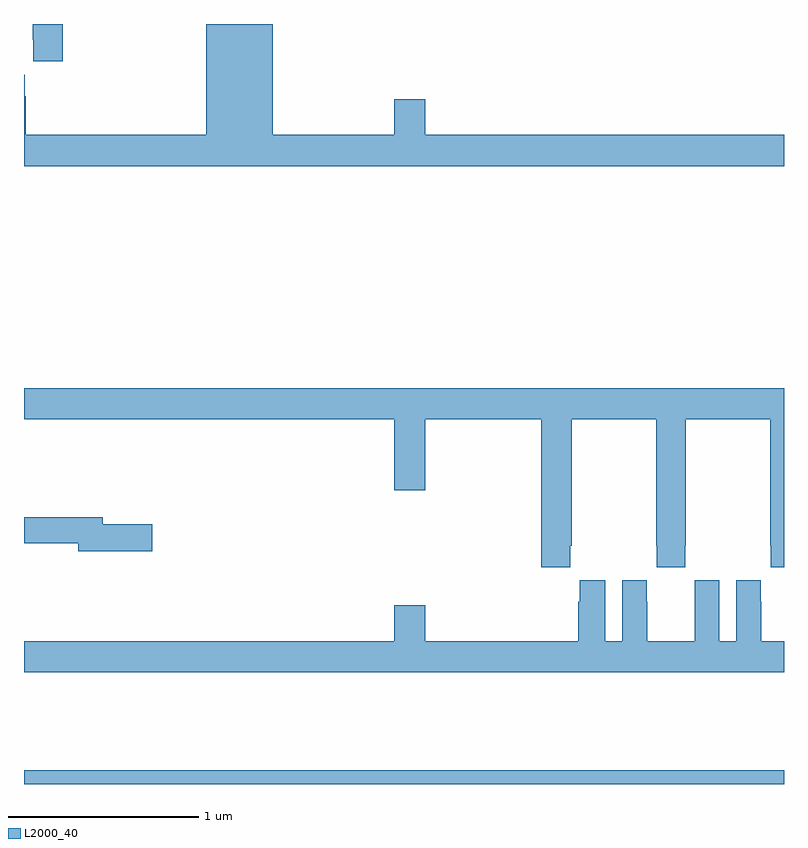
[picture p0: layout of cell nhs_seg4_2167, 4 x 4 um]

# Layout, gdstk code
import gdstk
lib = gdstk.Library(unit=1e-6, precision=1e-09)
def R(c, l, rs):  # rectangles x0, y0, x1, y1
    for r in rs: c.add(gdstk.rectangle(r[:2], r[2:], *l))
def P(c, l, *ps):  # polygons
    for p in ps: c.add(gdstk.Polygon(p, *l))
L2000_40 = (2000, 40)

nhs_seg4_2167 = lib.new_cell('nhs_seg4_2167')
R(nhs_seg4_2167, L2000_40, [(223,794.9,227,794.972)])
P(nhs_seg4_2167, L2000_40, [(223.205,798.9),(223.045,798.9),(223.045,798.817),(223.049,798.817),(223.049,798.705),(223.205,798.705)],
  [(227,798.316),(225.112,798.316),(225.112,798.505),(224.948,798.505),(224.948,798.316),(224.308,798.316),(224.308,798.9),(223.958,798.9),(223.958,798.316),(223.01,798.316),(223.01,798.521),(223.003,798.521),(223.003,798.634),(223,798.634),(223,798.152),(227,798.152)],
  [(225.875,796.153),(225.882,796.153),(225.882,796.82),(226.327,796.82),(226.327,796.153),(226.329,796.153),(226.329,796.041),(226.479,796.041),(226.479,796.153),(226.482,796.153),(226.482,796.82),(226.927,796.82),(226.927,796.153),(226.929,796.153),(226.929,796.041),(227,796.041),(227,796.984),(223,796.984),(223,796.82),(224.948,796.82),(224.948,796.446),(225.112,796.446),(225.112,796.82),(225.722,796.82),(225.722,796.041),(225.875,796.041)],
  [(223.675,796.268),(223.414,796.268),(223.414,796.304),(223,796.304),(223,796.168),(223.286,796.168),(223.286,796.126),(223.675,796.126)],
  [(227,795.652),(226.879,795.652),(226.879,795.86),(226.878,795.86),(226.878,795.973),(226.748,795.973),(226.748,795.652),(226.66,795.652),(226.66,795.973),(226.53,795.973),(226.53,795.86),(226.529,795.86),(226.529,795.652),(226.279,795.652),(226.279,795.86),(226.278,795.86),(226.278,795.973),(226.148,795.973),(226.148,795.652),(226.06,795.652),(226.06,795.973),(225.926,795.973),(225.926,795.86),(225.917,795.86),(225.917,795.652),(225.112,795.652),(225.112,795.841),(224.948,795.841),(224.948,795.652),(223,795.652),(223,795.488),(227,795.488)])

lib.write_gds('nhs_seg4_2167.gds')
